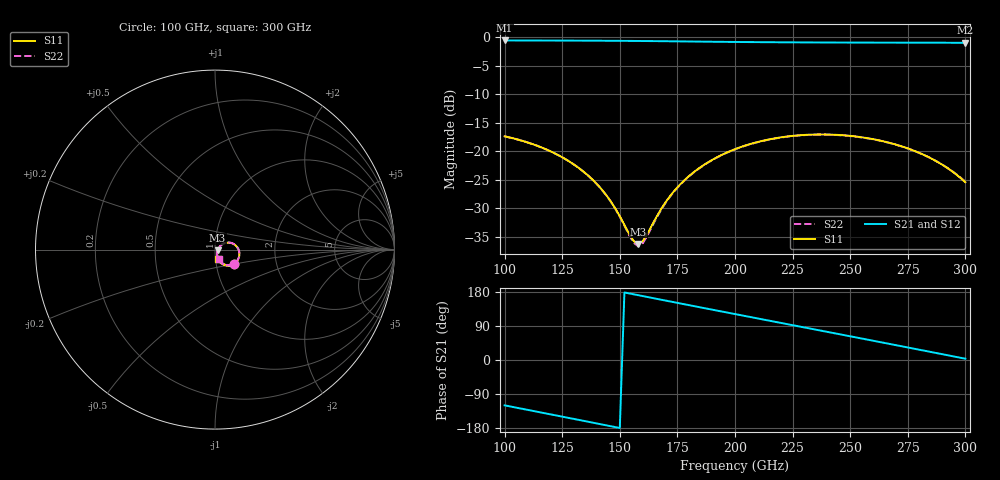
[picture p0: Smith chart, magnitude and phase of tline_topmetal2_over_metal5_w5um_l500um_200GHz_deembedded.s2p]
! Created with skrf 2.2.0 (http://scikit-rf.org).
# GHz S DB R 50.0
! Port[1] = P1
! Port[2] = P2
!freq dBS11 angS11 dBS21 angS21 dBS12 angS12 dBS22 angS22
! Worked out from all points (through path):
!   101 points, 100 GHz to 300 GHz, reference 50 ohm
!   highest |S21| = -0.60 dB at 100 GHz (marker M1); lowest = -1.0 dB at 300 GHz (marker M2)
!   group delay of S21, straight-line fit = 3.29 ps
!   lowest |S11| = -36.3 dB at 158 GHz (marker M3), VSWR 1.03, Z = 51.5 - j0.469 ohm
!   |S11| at or under -10 dB: start of sweep to end of sweep
!   |S22| runs from -36.6 to -17.1 dB; largest |S21 - S12| = 1.6e-12
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100  -17.40 -37.6  -0.60 -119.7  -0.60 -119.7  -17.40 -37.6
118  -19.68 -55.1  -0.61 -141.1  -0.61 -141.1  -19.68 -55.2
126  -21.30 -62.0  -0.62 -150.7  -0.62 -150.7  -21.30 -62.2
134  -23.50 -67.8  -0.63 -160.2  -0.63 -160.2  -23.51 -68.1
144  -27.63 -70.3  -0.65 -172.2  -0.65 -172.2  -27.66 -70.9
148  -30.00 -67.3  -0.66 -177.0  -0.66 -177.0  -30.05 -68.2
156  -35.74 -34.9  -0.68 173.4  -0.68 173.4  -36.04 -35.9
158  -36.27 -17.2  -0.69 171.0  -0.69 171.0  -36.64 -17.6
160  -35.74 0.3  -0.69 168.6  -0.69 168.6  -36.10 0.9
168  -30.08 32.6  -0.72 159.1  -0.72 159.1  -30.22 33.8
174  -26.78 36.0  -0.75 151.9  -0.75 151.9  -26.86 37.0
182  -23.71 33.3  -0.78 142.4  -0.78 142.4  -23.76 34.2
190  -21.54 27.7  -0.82 133.0  -0.82 133.0  -21.59 28.5
200  -19.64 18.7  -0.86 121.2  -0.86 121.2  -19.68 19.5
210  -18.37 8.9  -0.89 109.5  -0.89 109.5  -18.40 9.7
218  -17.70 0.7  -0.91 100.1  -0.91 100.1  -17.73 1.5
234  -17.08 -15.8  -0.94 81.3  -0.94 81.3  -17.11 -14.9
250  -17.32 -32.2  -0.97 62.6  -0.97 62.6  -17.35 -31.1
268  -18.63 -49.9  -0.98 41.3  -0.98 41.3  -18.66 -48.4
286  -21.45 -65.5  -0.99 20.0  -0.99 20.0  -21.45 -63.2
294  -23.46 -70.5  -1.00 10.5  -1.00 10.5  -23.42 -67.7
300  -25.45 -72.3  -1.01 3.4  -1.01 3.4  -25.35 -68.8
